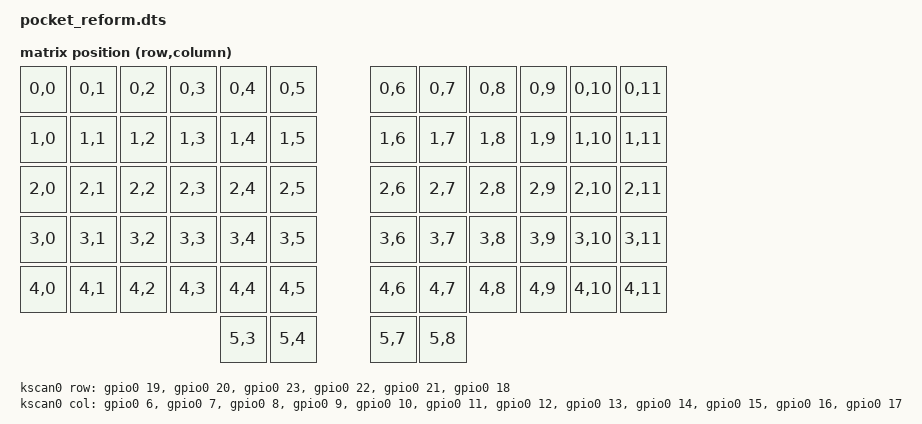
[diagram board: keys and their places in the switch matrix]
/*
  SPDX-License-Identifier: GPL-3.0-or-later
  Copyright 2026 joguSD
*/
/dts-v1/;

#include <raspberrypi/rpi_pico/rp2040.dtsi>
#include <dt-bindings/led/led.h>
#include <dt-bindings/input/input-event-codes.h>
#include <dt-bindings/zmk/matrix_transform.h>

#include "pocket_reform-pinctrl.dtsi"
#include "pocket_reform-layouts.dtsi"

&pocket_reform_layout {
    transform = <&default_transform>;
};

/ {

    chosen {
        zephyr,console = &uart1;
        zephyr,shell-uart = &uart1;
        zephyr,sram = &sram0;
        zephyr,flash = &flash0;
        zephyr,flash-controller = &ssi;
        zephyr,code-partition = &code_partition;
        zephyr,display = &oled;

        mnt,reform-sysctrl = &uart1;

        zmk,kscan = &kscan0;
        zmk,physical-layout = &pocket_reform_layout;
        zmk,underglow = &led_strip;
    };

    aliases {
        watchdog0 = &wdt0;
    };

    EXT_POWER {
        compatible = "zmk,ext-power-generic";
        control-gpios = <&gpio0 25 GPIO_ACTIVE_HIGH>;
        init-delay-ms = <20>;
    };

    trackball_listener {
        compatible = "zmk,input-listener";
        device = <&trackball>;
    };

    default_transform: keymap_transform_0 {
        compatible = "zmk,matrix-transform";
        columns = <12>;
        rows = <6>;

//  ------- Switch Matrix ----------
//
//  Column     0   |    1  |    2  |    3  |    4  |    5  |    6  |    7  |    8  |    9  |    10  |    11  |
//        ===================================================================================================|
//  Row 0 ||   S0  |   S1  |   S2  |   S3  |   S4  |   S5  |   S6  |   S7  |   S8  |   S9  |   S10  |   S11  |
//  Row 1 ||   S0  |   S1  |   S2  |   S3  |   S4  |   S5  |   S6  |   S7  |   S8  |   S9  |   S10  |   S11  |
//  Row 2 ||   S0  |   S1  |   S2  |   S3  |   S4  |   S5  |   S6  |   S7  |   S8  |   S9  |   S10  |   S11  |
//  Row 3 ||   S0  |   S1  |   S2  |   S3  |   S4  |   S5  |   S6  |   S7  |   S8  |   S9  |   S10  |   S11  |
//  Row 4 ||   S0  |   S1  |   S2  |   S3  |   S4  |   S5  |   S6  |   S7  |   S8  |   S9  |   S10  |   S11  |
//  Row 5 ||       |       |       |   S0  |   S1  |       |       |   S3  |   S4  |       |        |        |
//        ----------------------------------------------------------------------------------------------------
        map = <
            RC(0,0) RC(0,1) RC(0,2) RC(0,3) RC(0,4) RC(0,5) RC(0,6) RC(0,7) RC(0,8) RC(0,9) RC(0,10) RC(0,11)
            RC(1,0) RC(1,1) RC(1,2) RC(1,3) RC(1,4) RC(1,5) RC(1,6) RC(1,7) RC(1,8) RC(1,9) RC(1,10) RC(1,11)
            RC(2,0) RC(2,1) RC(2,2) RC(2,3) RC(2,4) RC(2,5) RC(2,6) RC(2,7) RC(2,8) RC(2,9) RC(2,10) RC(2,11)
            RC(3,0) RC(3,1) RC(3,2) RC(3,3) RC(3,4) RC(3,5) RC(3,6) RC(3,7) RC(3,8) RC(3,9) RC(3,10) RC(3,11)
            RC(4,0) RC(4,1) RC(4,2) RC(4,3) RC(4,4) RC(4,5) RC(4,6) RC(4,7) RC(4,8) RC(4,9) RC(4,10) RC(4,11)
                                    RC(5,3) RC(5,4)                 RC(5,7) RC(5,8)
        >;
    };

    kscan0: kscan {
        compatible = "zmk,kscan-gpio-matrix";

        diode-direction = "col2row";
        row-gpios
            = <&gpio0 19 (GPIO_ACTIVE_HIGH | GPIO_PULL_DOWN)>
            , <&gpio0 20 (GPIO_ACTIVE_HIGH | GPIO_PULL_DOWN)>
            , <&gpio0 23 (GPIO_ACTIVE_HIGH | GPIO_PULL_DOWN)>
            , <&gpio0 22 (GPIO_ACTIVE_HIGH | GPIO_PULL_DOWN)>
            , <&gpio0 21 (GPIO_ACTIVE_HIGH | GPIO_PULL_DOWN)>
            , <&gpio0 18 (GPIO_ACTIVE_HIGH | GPIO_PULL_DOWN)>
            ;
        col-gpios
            = <&gpio0 6  GPIO_ACTIVE_HIGH>
            , <&gpio0 7  GPIO_ACTIVE_HIGH>
            , <&gpio0 8  GPIO_ACTIVE_HIGH>
            , <&gpio0 9  GPIO_ACTIVE_HIGH>
            , <&gpio0 10 GPIO_ACTIVE_HIGH>
            , <&gpio0 11 GPIO_ACTIVE_HIGH>
            , <&gpio0 12 GPIO_ACTIVE_HIGH>
            , <&gpio0 13 GPIO_ACTIVE_HIGH>
            , <&gpio0 14 GPIO_ACTIVE_HIGH>
            , <&gpio0 15 GPIO_ACTIVE_HIGH>
            , <&gpio0 16 GPIO_ACTIVE_HIGH>
            , <&gpio0 17 GPIO_ACTIVE_HIGH>
            ;
    };
};

&flash0 {
    reg = <0x10000000 DT_SIZE_M(4)>;

    partitions {
        compatible = "fixed-partitions";
        #address-cells = <1>;
        #size-cells = <1>;

        second_stage_bootloader: partition@0 {
            reg = <0x00000000 0x100>;
            read-only;
        };

        code_partition: partition@100 {
            reg = <0x100 (DT_SIZE_M(4) - 0x100 - DT_SIZE_K(512))>;
            read-only;
        };

        storage_partition: partition@380000 {
            reg = <0x380000 DT_SIZE_K(512)>;
        };
    };
};

&xosc {
    startup-delay-multiplier = <64>;
};

&gpio0 {
    status = "okay";
};

&wdt0 {
    status = "okay";
};

zephyr_udc0: &usbd {
    status = "okay";
};

&uart1 {
    status = "okay";
    current-speed = <115200>;
    pinctrl-0 = <&uart1_default>;
    pinctrl-names = "default";
};

&timer {
    status = "okay";
};

&rtc {
    status = "okay";
    clocks = <&clocks RPI_PICO_CLKID_CLK_RTC>;
};

&vreg {
    regulator-always-on;
    regulator-allowed-modes = <REGULATOR_RPI_PICO_MODE_NORMAL>;
};

&i2c0 {
      status = "okay";
      pinctrl-0 = <&i2c0_default>;
      pinctrl-names = "default";
      clock-frequency = <I2C_BITRATE_FAST>;

      oled: ssd1306@3c {
          compatible = "solomon,ssd1306fb";
          reg = <0x3c>;
          width = <128>;
          height = <32>;
          segment-offset = <0>;
          page-offset = <0>;
          display-offset = <0>;
          multiplex-ratio = <31>;
          segment-remap;
          com-invdir;
          com-sequential;
          inversion-on;
          prechargep = <0x22>;
      };

      trackball: trackball@79 {
          compatible = "mnt,trackball";
          reg = <0x79>;
      };
};

&pio0 {
    status = "okay";

    pio-ws2812 {
        status = "okay";
        compatible = "worldsemi,ws2812-rpi_pico-pio";
        pinctrl-0 = <&ws2812_pio0_default>;
        pinctrl-names = "default";
        bit-waveform = <2>, <5>, <3>;

        led_strip: ws28122 {
            status = "okay";
            gpios = <&gpio0 24 GPIO_ACTIVE_HIGH>;
            chain-length = <64>;
            color-mapping = <LED_COLOR_ID_GREEN
            LED_COLOR_ID_RED
            LED_COLOR_ID_BLUE>;
            reset-delay = <280>;
            frequency = <800000>;
        };
    };
};
